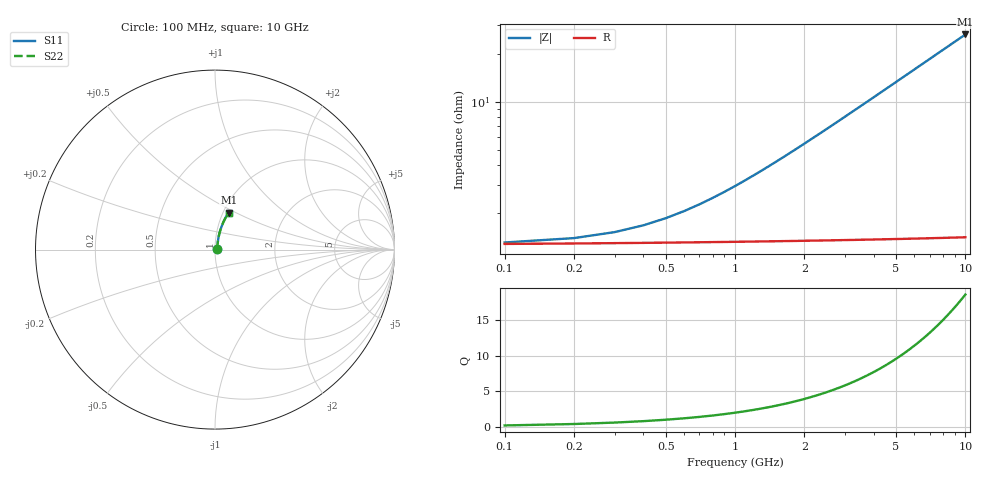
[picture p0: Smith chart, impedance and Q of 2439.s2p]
# Hz S RI R 50.00
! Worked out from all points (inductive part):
!   100 points, 100 MHz to 10 GHz, reference 50 ohm
!   read as one part in series: L = 420 pH near 1.6 GHz
!   highest Q = 18.6 at 10 GHz (marker M1), where L = 419 pH
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1e8  0.0127 0.00221  0.9873 -0.00294  0.9873 -0.00294  0.0127 0.00221
2e8  0.0128 0.00443  0.9872 -0.00587  0.9872 -0.00587  0.0128 0.00443
3e8  0.0129 0.00664  0.9871 -0.0088  0.9871 -0.0088  0.0129 0.00664
4e8  0.0129 0.00885  0.987 -0.0117  0.987 -0.0117  0.0129 0.00885
8e8  0.0134 0.0177  0.9866 -0.0235  0.9866 -0.0235  0.0134 0.0177
1.1e9  0.0139 0.0243  0.9861 -0.0322  0.9861 -0.0322  0.0139 0.0243
1.4e9  0.0144 0.0309  0.9855 -0.041  0.9855 -0.041  0.0144 0.0309
1.6e9  0.0148 0.0353  0.9851 -0.0469  0.9851 -0.0469  0.0148 0.0353
1.8e9  0.0153 0.0397  0.9846 -0.0527  0.9846 -0.0527  0.0153 0.0397
2.1e9  0.0161 0.0463  0.9837 -0.0614  0.9837 -0.0614  0.0161 0.0463
2.5e9  0.0174 0.055  0.9824 -0.0731  0.9824 -0.0731  0.0174 0.055
2.9e9  0.0189 0.0637  0.9809 -0.0846  0.9809 -0.0846  0.0189 0.0637
3.4e9  0.021 0.0745  0.9787 -0.099  0.9787 -0.099  0.021 0.0745
3.8e9  0.0229 0.0831  0.9767 -0.1105  0.9767 -0.1105  0.0229 0.0831
4.2e9  0.025 0.0916  0.9745 -0.1219  0.9745 -0.1219  0.025 0.0916
4.6e9  0.0273 0.1001  0.9721 -0.1333  0.9721 -0.1333  0.0273 0.1001
5.1e9  0.0304 0.1106  0.9688 -0.1474  0.9688 -0.1474  0.0304 0.1106
5.9e9  0.0361 0.1271  0.9629 -0.1697  0.9629 -0.1697  0.0361 0.1271
6.7e9  0.0425 0.1432  0.9563 -0.1916  0.9563 -0.1916  0.0425 0.1432
7.5e9  0.0496 0.159  0.9489 -0.2132  0.9489 -0.2132  0.0496 0.159
8.4e9  0.0584 0.1762  0.9397 -0.237  0.9397 -0.237  0.0584 0.1762
1e10  0.0761 0.2054  0.9212 -0.2778  0.9212 -0.2778  0.0761 0.2054
